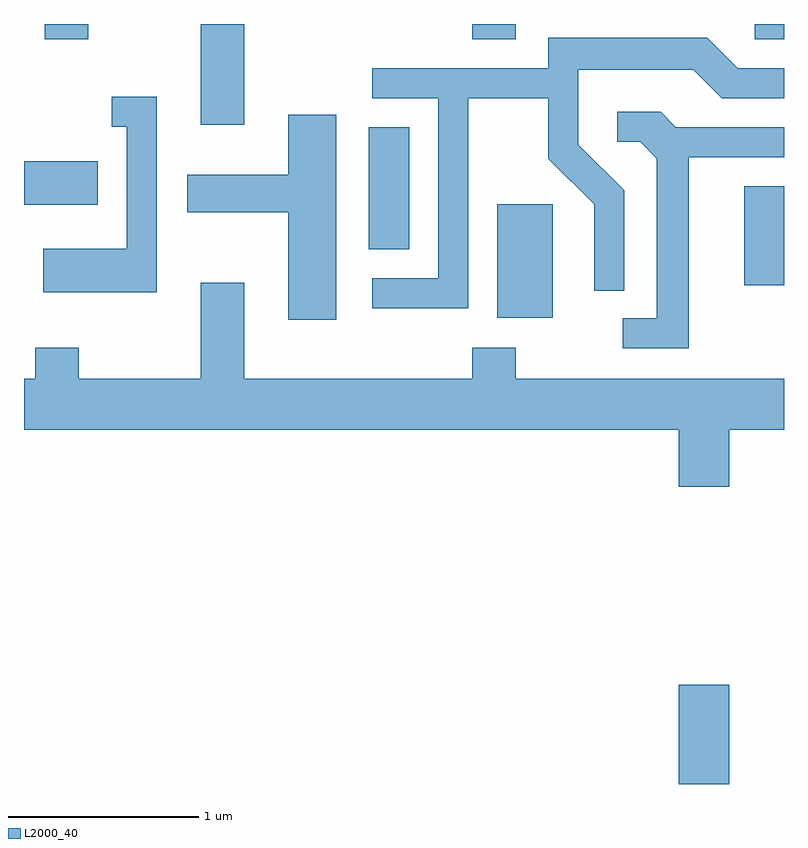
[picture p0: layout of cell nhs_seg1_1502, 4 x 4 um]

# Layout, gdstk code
import gdstk
lib = gdstk.Library(unit=1e-6, precision=1e-09)
def R(c, l, rs):  # rectangles x0, y0, x1, y1
    for r in rs: c.add(gdstk.rectangle(r[:2], r[2:], *l))
def P(c, l, *ps):  # polygons
    for p in ps: c.add(gdstk.Polygon(p, *l))
L2000_40 = (2000, 40)

nhs_seg1_1502 = lib.new_cell('nhs_seg1_1502')
R(nhs_seg1_1502, L2000_40, [(235.056,897.712,235.324,898.234), (234.101,900.166,234.394,900.764), (235.401,900.336,235.611,900.859), (233.426,900.526,233.639,901.169), (231.611,900.761,231.999,900.989), (232.541,901.181,232.769,901.712), (231.721,901.631,231.949,901.712), (233.971,901.631,234.199,901.712), (235.456,901.631,235.611,901.712)])
P(nhs_seg1_1502, L2000_40, [(233.949,901.321),(234.371,901.321),(234.371,901.004),(234.611,900.764),(234.611,900.308),(234.769,900.308),(234.769,900.837),(234.529,901.077),(234.529,901.471),(235.134,901.471),(235.284,901.321),(235.611,901.321),(235.611,901.479),(235.367,901.479),(235.207,901.639),(234.371,901.639),(234.371,901.479),(233.443,901.479),(233.443,901.321),(233.791,901.321),(233.791,900.374),(233.443,900.374),(233.443,900.216),(233.949,900.216)],
  [(232.309,901.329),(232.073,901.329),(232.073,901.171),(232.151,901.171),(232.151,900.529),(231.711,900.529),(231.711,900.301),(232.309,900.301)],
  [(235.109,901.011),(235.611,901.011),(235.611,901.169),(235.042,901.169),(234.962,901.249),(234.733,901.249),(234.733,901.091),(234.854,901.091),(234.941,901.004),(234.941,900.164),(234.763,900.164),(234.763,900.006),(235.109,900.006)],
  [(233.254,901.234),(233.001,901.234),(233.001,900.919),(232.471,900.919),(232.471,900.721),(233.001,900.721),(233.001,900.156),(233.254,900.156)],
  [(235.324,899.576),(235.611,899.576),(235.611,899.844),(234.199,899.844),(234.199,900.009),(233.971,900.009),(233.971,899.844),(232.769,899.844),(232.769,900.349),(232.541,900.349),(232.541,899.844),(231.899,899.844),(231.899,900.009),(231.671,900.009),(231.671,899.844),(231.611,899.844),(231.611,899.576),(235.056,899.576),(235.056,899.276),(235.324,899.276)])

lib.write_gds('nhs_seg1_1502.gds')
